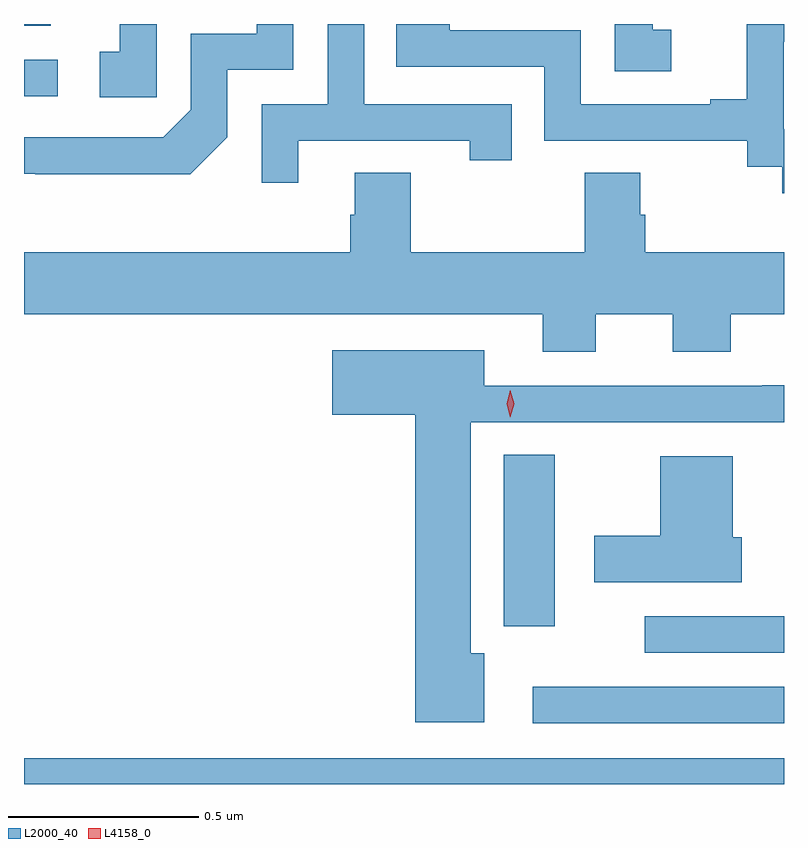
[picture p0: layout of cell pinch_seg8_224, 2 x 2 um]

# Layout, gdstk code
import gdstk
lib = gdstk.Library(unit=1e-6, precision=1e-09)
def R(c, l, rs):  # rectangles x0, y0, x1, y1
    for r in rs: c.add(gdstk.rectangle(r[:2], r[2:], *l))
def P(c, l, *ps):  # polygons
    for p in ps: c.add(gdstk.Polygon(p, *l))
L2000_40 = (2000, 40)
L4158_0 = (4158, 0)

pinch_seg8_224 = lib.new_cell('pinch_seg8_224')
R(pinch_seg8_224, L2000_40, [(686.021,1099.28,688.021,1099.348), (687.36,1099.44,688.021,1099.536), (687.654,1099.626,688.021,1099.722), (687.284,1099.695,687.418,1100.147), (686.021,1101.09,686.11,1101.186), (686.021,1101.275,686.092,1101.28)])
P(pinch_seg8_224, L2000_40, [(686.556,1100.982),(686.556,1101.159),(686.73,1101.159),(686.73,1101.28),(686.633,1101.28),(686.633,1101.255),(686.46,1101.255),(686.46,1101.054),(686.388,1100.982),(686.021,1100.982),(686.021,1100.886),(686.05,1100.886),(686.05,1100.885),(686.458,1100.885)],
  [(688.021,1101.003),(688.02,1101.003),(688.02,1101.233),(688.021,1101.233),(688.021,1101.28),(687.923,1101.28),(687.923,1101.082),(687.827,1101.082),(687.827,1101.069),(687.486,1101.069),(687.486,1101.264),(687.141,1101.264),(687.141,1101.28),(687.001,1101.28),(687.001,1101.168),(687.39,1101.168),(687.39,1100.973),(687.924,1100.973),(687.924,1100.905),(688.017,1100.905),(688.017,1100.835),(688.021,1100.835)],
  [(686.37,1101.28),(686.273,1101.28),(686.273,1101.207),(686.22,1101.207),(686.22,1101.087),(686.37,1101.087)],
  [(687.724,1101.265),(687.675,1101.265),(687.675,1101.28),(687.576,1101.28),(687.576,1101.156),(687.724,1101.156)],
  [(686.743,1100.973),(687.194,1100.973),(687.194,1100.922),(687.305,1100.922),(687.305,1101.069),(686.916,1101.069),(686.916,1101.28),(686.82,1101.28),(686.82,1101.069),(686.646,1101.069),(686.646,1100.862),(686.743,1100.862)],
  [(687.526,1100.516),(687.728,1100.516),(687.728,1100.417),(687.881,1100.417),(687.881,1100.516),(688.021,1100.516),(688.021,1100.68),(687.656,1100.68),(687.656,1100.778),(687.643,1100.778),(687.643,1100.888),(687.496,1100.888),(687.496,1100.68),(687.039,1100.68),(687.039,1100.888),(686.891,1100.888),(686.891,1100.778),(686.879,1100.778),(686.879,1100.68),(686.021,1100.68),(686.021,1100.516),(687.386,1100.516),(687.386,1100.417),(687.526,1100.417)],
  [(687.232,1099.624),(687.196,1099.624),(687.196,1100.232),(688.021,1100.232),(688.021,1100.33),(687.964,1100.33),(687.964,1100.328),(687.232,1100.328),(687.232,1100.422),(686.832,1100.422),(686.832,1100.252),(687.05,1100.252),(687.05,1099.442),(687.232,1099.442)],
  [(687.91,1099.929),(687.886,1099.929),(687.886,1100.143),(687.695,1100.143),(687.695,1099.933),(687.522,1099.933),(687.522,1099.811),(687.91,1099.811)])
P(pinch_seg8_224, L4158_0, [(687.3,1100.245),(687.291,1100.281),(687.3,1100.316),(687.301,1100.316),(687.301,1100.316),(687.311,1100.281),(687.301,1100.245),(687.301,1100.245)])

lib.write_gds('pinch_seg8_224.gds')
